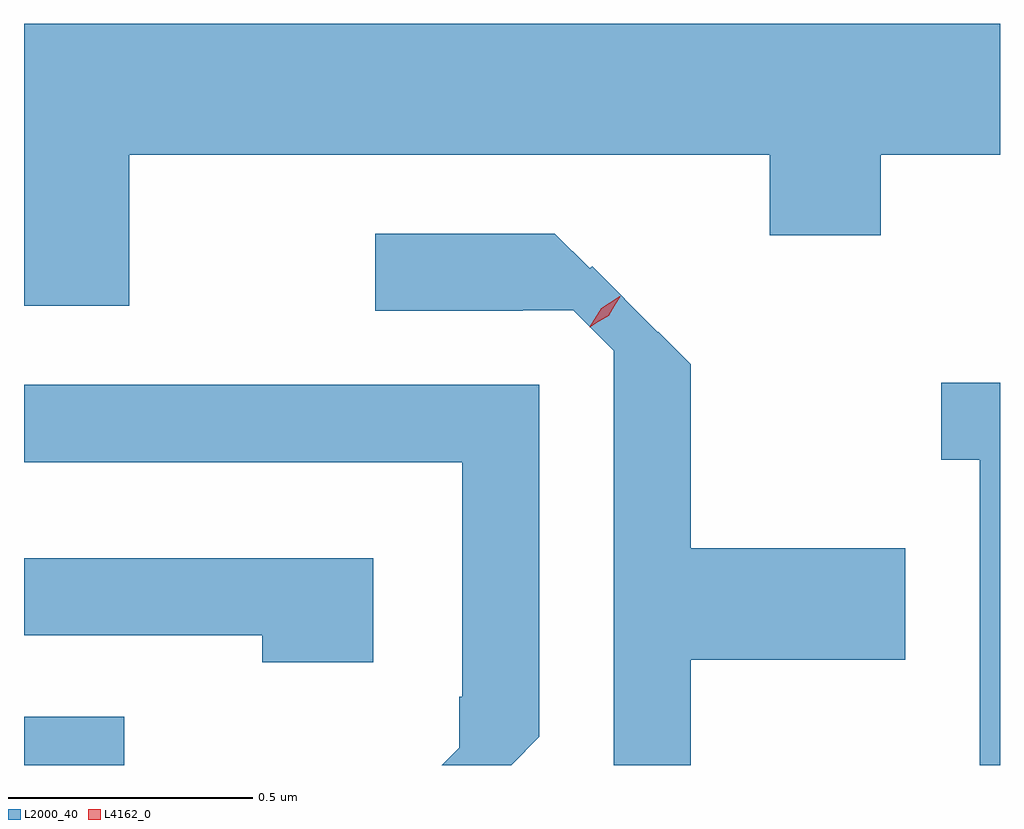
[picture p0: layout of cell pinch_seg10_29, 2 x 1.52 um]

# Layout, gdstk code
import gdstk
lib = gdstk.Library(unit=1e-6, precision=1e-09)
def R(c, l, rs):  # rectangles x0, y0, x1, y1
    for r in rs: c.add(gdstk.rectangle(r[:2], r[2:], *l))
def P(c, l, *ps):  # polygons
    for p in ps: c.add(gdstk.Polygon(p, *l))
L2000_40 = (2000, 40)
L4162_0 = (4162, 0)

pinch_seg10_29 = lib.new_cell('pinch_seg10_29')
R(pinch_seg10_29, L2000_40, [(595.013,2188.145,595.218,2188.244)])
P(pinch_seg10_29, L2000_40, [(595.229,2189.396),(596.541,2189.396),(596.541,2189.231),(596.769,2189.231),(596.769,2189.396),(597.013,2189.396),(597.013,2189.664),(595.013,2189.664),(595.013,2189.086),(595.229,2189.086)],
  [(596.379,2188.361),(596.819,2188.361),(596.819,2188.589),(596.379,2188.589),(596.379,2188.967),(596.313,2189.033),(596.312,2189.032),(596.177,2189.167),(596.172,2189.163),(596.101,2189.234),(595.733,2189.234),(595.733,2189.076),(596.035,2189.076),(596.035,2189.077),(596.139,2189.077),(596.222,2188.994),(596.222,2188.89),(596.221,2188.89),(596.221,2188.145),(596.379,2188.145)],
  [(597.013,2188.929),(596.893,2188.929),(596.893,2188.771),(596.971,2188.771),(596.971,2188.145),(597.013,2188.145)],
  [(596.069,2188.203),(596.069,2188.924),(595.013,2188.924),(595.013,2188.766),(595.911,2188.766),(595.911,2188.285),(595.905,2188.285),(595.905,2188.181),(595.869,2188.145),(596.011,2188.145)],
  [(595.729,2188.569),(595.013,2188.569),(595.013,2188.411),(595.501,2188.411),(595.501,2188.356),(595.729,2188.356)])
P(pinch_seg10_29, L4162_0, [(596.172,2189.042),(596.172,2189.043),(596.196,2189.081),(596.234,2189.106),(596.235,2189.106),(596.235,2189.105),(596.21,2189.067),(596.172,2189.042)],
  [(596.177,2189.046),(596.177,2189.047),(596.196,2189.08),(596.23,2189.101),(596.231,2189.101),(596.231,2189.1),(596.211,2189.066),(596.177,2189.046)])

lib.write_gds('pinch_seg10_29.gds')
